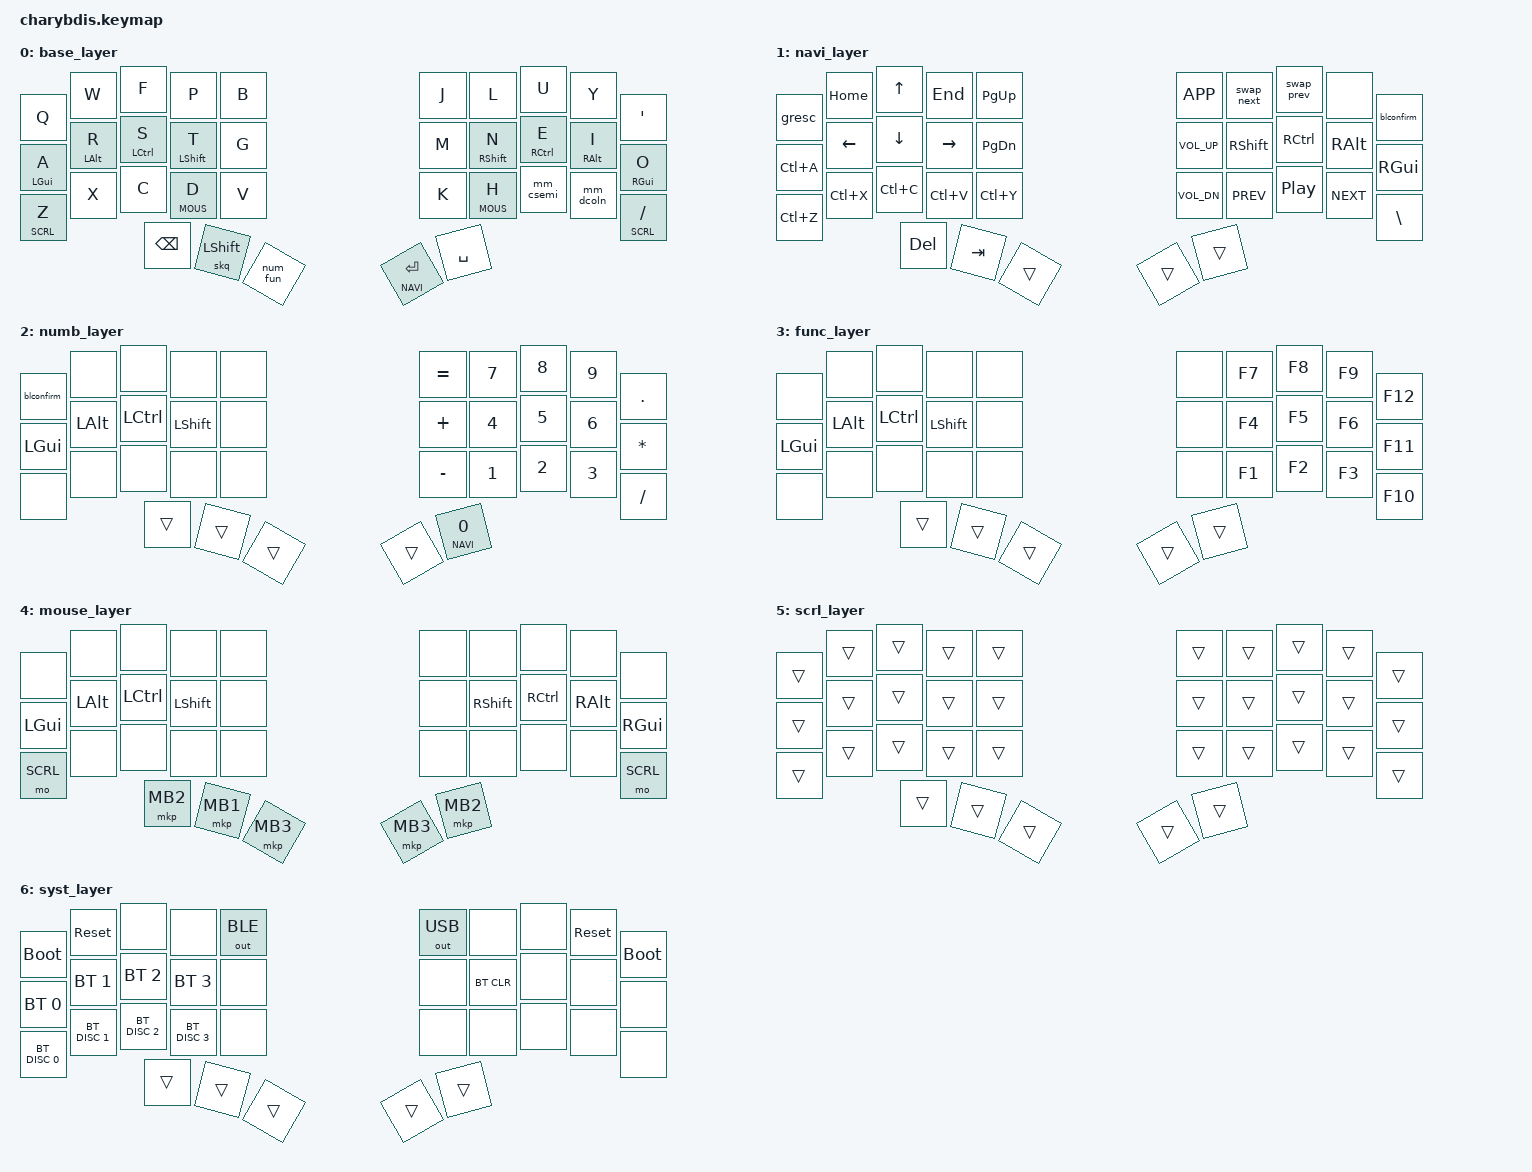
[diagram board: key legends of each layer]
/*
 * Copyright (c) 2020 The ZMK Contributors
 *
 * SPDX-License-Identifier: MIT
 */
#include <behaviors.dtsi>
#include <dt-bindings/zmk/keys.h>
#include <dt-bindings/zmk/bt.h>
#include <dt-bindings/zmk/ext_power.h>
#include <dt-bindings/zmk/mouse.h>
#include <dt-bindings/zmk/outputs.h>
#include <input/processors.dtsi>
#include <dt-bindings/zmk/pointing.h>
#include <dt-bindings/zmk/input_transform.h>

#ifdef ZMK_POINTING_DEFAULT_MOVE_VAL
    #undef ZMK_POINTING_DEFAULT_MOVE_VAL
    #define ZMK_POINTING_DEFAULT_MOVE_VAL 1200
#endif
#ifdef ZMK_POINTING_DEFAULT_SCRL_VAL
    #undef ZMK_POINTING_DEFAULT_SCRL_VAL
    #define ZMK_POINTING_DEFAULT_SCRL_VAL 15
#endif

#define BASE 0
#define NAVI 1
#define NUMB 2
#define FUNC 3
#define MOUS 4
#define SCRL 5
#define SYST 6

#define MOD_MORPH(NAME, NORMAL, MODDED, MODS) \
  mm_##NAME: NAME { \
    compatible = "zmk,behavior-mod-morph"; \
    #binding-cells = <0>; \
    bindings = <&kp NORMAL>, <&kp MODDED>; \
    mods = <MODS>; \
  };

&caps_word { continue-list = <UNDERSCORE MINUS>; };
&sk { release-after-ms = <750>; };
&lt {
    tapping-term-ms = <150>;
    flavor = "tap-preferred";
};

/ {
    trackball_listener {
        compatible = "zmk,input-listener";
        device = <&trackball>;
        snipe {
            layers = <MOUS>;
            input-processors = <&zip_xy_scaler 1 3>;
        };
        scroll {
            layers = <SCRL>;
            input-processors = 
                <&zip_xy_transform INPUT_TRANSFORM_Y_INVERT>,
                <&zip_xy_scaler 1 2>,
                <&zip_xy_to_scroll_mapper>;
        };
    };

    chosen {
        zmk,matrix_transform = &five_column_transform;
    };

    behaviors {
        skq: sticky_key_quick_release {
            compatible = "zmk,behavior-sticky-key";
            #binding-cells = <1>;
            bindings = <&kp>;
            release-after-ms = <500>;
            quick-release;
            ignore-modifiers;
        };
        hml: homerow_modsl {
            compatible = "zmk,behavior-hold-tap";
            #binding-cells = <2>;
            bindings = <&kp>, <&kp>;
            flavor = "balanced";
            tapping-term-ms = <200>;
            quick-tap-ms = <175>;
            require-prior-idle-ms = <250>;
            hold-trigger-key-positions = <5 6 7 8 9 15 16 17 18 19 25 26 27 28 29>;
            hold-trigger-on-release;
        };
        hmr: homerow_modsr {
            compatible = "zmk,behavior-hold-tap";
            #binding-cells = <2>;
            bindings = <&kp>, <&kp>;
            flavor = "balanced";
            tapping-term-ms = <200>;
            quick-tap-ms = <175>;
            require-prior-idle-ms = <250>;
            hold-trigger-key-positions = <0 1 2 3 4 10 11 12 13 14 20 21 22 23 24>;
            hold-trigger-on-release;
        };
        sft_caps: shift_capsword {
            compatible = "zmk,behavior-tap-dance";
            #binding-cells = <0>;
            tapping-term-ms = <175>;
            bindings = <&skq LSHIFT>, <&caps_word>;
        };
        MOD_MORPH(csemi, COMMA, SEMI, (MOD_LSFT|MOD_RSFT))
        MOD_MORPH(dcoln, DOT, COLON, (MOD_LSFT|MOD_RSFT))
        swap_next: swap_next {
            compatible = "zmk,behavior-tri-state";
            #binding-cells = <0>;
            bindings = <&kt LALT>, <&kp TAB>, <&kt LALT>;
            timeout-ms = <2500>;
        };
        swap_prev: swap_prev {
            compatible = "zmk,behavior-tri-state";
            #binding-cells = <0>;
            bindings = <&kt LALT>, <&kp LS(TAB)>, <&kt LALT>;
            timeout-ms = <2500>;
        };
        num_fun: num_function {
            compatible = "zmk,behavior-tap-dance";
            #binding-cells = <0>;
            tapping-term-ms = <250>;
            bindings = <&mo NUMB>, <&mo FUNC>;
        };
        blconfirm: bootloader_confirmation {
            compatible = "zmk,behavior-tap-dance";
            #binding-cells = <0>;
            tapping-term-ms = <250>;
            bindings = <&none>, <&bootloader>;
        };
    };

    combos {
        #include "combos.dtsi"
    };

    conditional_layers {
        compatible = "zmk,conditional-layers";
        tri_layer {
            if-layers = <NAVI NUMB>;
            then-layer = <SYST>;
        };
    };

    keymap {
        compatible = "zmk,keymap";
        base_layer {
            bindings = <
    &kp Q           &kp W           &kp F           &kp P           &kp B           &kp J           &kp L           &kp U           &kp Y           &kp SQT
    &hml LGUI A     &hml LALT R     &hml LCTL S     &hml LSHIFT T   &kp G           &kp M           &hmr RSHIFT N   &hmr RCTRL E    &hmr RALT I     &hmr RGUI O
    &lt SCRL Z      &kp X           &kp C           &lt MOUS D      &kp V           &kp K           &lt MOUS H      &mm_csemi       &mm_dcoln       &lt SCRL FSLH
                                    &kp BSPC        &skq LSHIFT     &num_fun        &lt NAVI ENTER  &kp SPACE
            >;
        };
        navi_layer {
            bindings = <
    &gresc          &kp HOME        &kp UP          &kp END         &kp PG_UP       &kp K_APP       &swap_next      &swap_prev      &none           &blconfirm
    &kp LC(A)       &kp LEFT        &kp DOWN        &kp RIGHT       &kp PG_DN       &kp C_VOL_UP    &kp RSHIFT      &kp RCTRL       &kp RALT        &kp RGUI
    &kp LC(Z)       &kp LC(X)       &kp LC(C)       &kp LC(V)       &kp LC(Y)       &kp C_VOL_DN    &kp C_PREV      &kp C_PP        &kp C_NEXT      &kp BSLH
                                    &kp DEL         &kp TAB         &trans          &trans          &trans
            >;
        };
        numb_layer {
            bindings = <
    &blconfirm      &none           &none           &none           &none           &kp EQUAL       &kp N7          &kp N8          &kp N9          &kp DOT
    &kp LGUI        &kp LALT        &kp LCTRL       &kp LSHIFT      &none           &kp PLUS        &kp N4          &kp N5          &kp N6          &kp ASTRK
    &none           &none           &none           &none           &none           &kp MINUS       &kp N1          &kp N2          &kp N3          &kp FSLH
                                    &trans          &trans          &trans          &trans          &lt NAVI N0
            >;
        };
        func_layer {
            bindings = <
    &none           &none           &none           &none           &none           &none           &kp F7          &kp F8          &kp F9          &kp F12
    &kp LGUI        &kp LALT        &kp LCTRL       &kp LSHIFT      &none           &none           &kp F4          &kp F5          &kp F6          &kp F11
    &none           &none           &none           &none           &none           &none           &kp F1          &kp F2          &kp F3          &kp F10
                                    &trans          &trans          &trans          &trans          &trans
            >;
        };
        mouse_layer {
            bindings = <
    &none           &none           &none           &none           &none           &none           &none           &none           &none           &none
    &kp LGUI        &kp LALT        &kp LCTRL       &kp LSHIFT      &none           &none           &kp RSHIFT      &kp RCTRL       &kp RALT        &kp RGUI
    &mo SCRL        &none           &none           &none           &none           &none           &none           &none           &none           &mo SCRL
                                    &mkp MB2        &mkp MB1        &mkp MB3        &mkp MB3        &mkp MB2
            >;
        };
        scrl_layer {
            bindings = <
    &trans          &trans          &trans          &trans          &trans          &trans          &trans          &trans          &trans          &trans
    &trans          &trans          &trans          &trans          &trans          &trans          &trans          &trans          &trans          &trans
    &trans          &trans          &trans          &trans          &trans          &trans          &trans          &trans          &trans          &trans
                                    &trans          &trans          &trans          &trans          &trans
            >;
        };
        syst_layer {
            bindings = <
    &bootloader     &sys_reset      &none           &none           &out OUT_BLE    &out OUT_USB    &none           &none           &sys_reset      &bootloader
    &bt BT_SEL 0    &bt BT_SEL 1    &bt BT_SEL 2    &bt BT_SEL 3    &none           &none           &bt BT_CLR      &none           &none           &none
    &bt BT_DISC 0   &bt BT_DISC 1   &bt BT_DISC 2   &bt BT_DISC 3   &none           &none           &none           &none           &none           &none
                                    &trans          &trans          &trans          &trans          &trans
            >;
        };
    };
};
